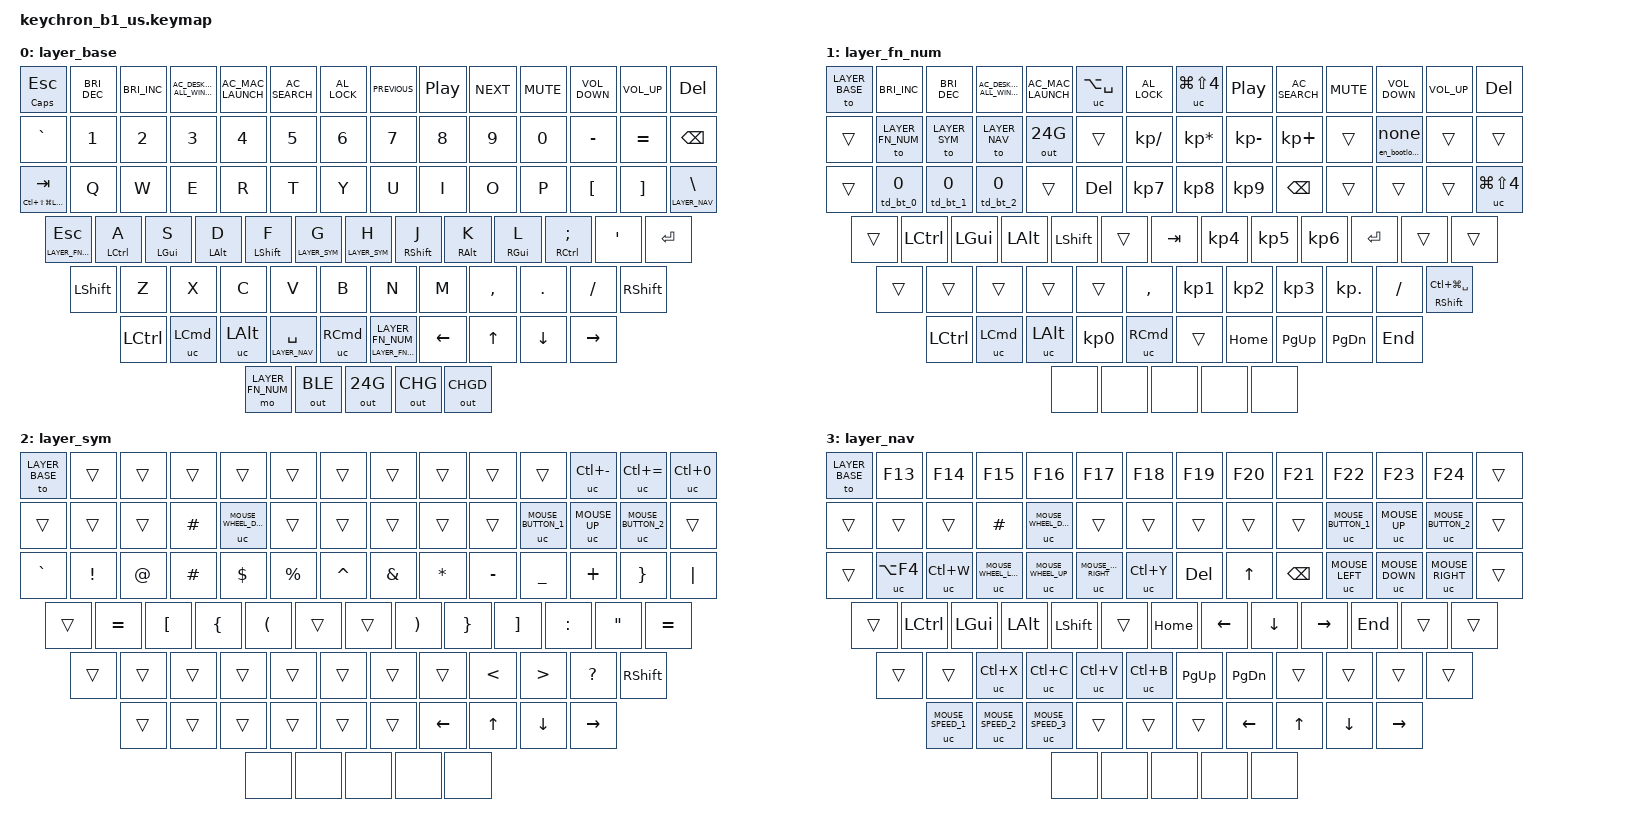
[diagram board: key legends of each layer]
/*
 * Copyright (c) 2023 The ZMK Contributors
 *
 * SPDX-License-Identifier: MIT
 */

#include <behaviors.dtsi>
#include <dt-bindings/zmk/keys.h>
#include <dt-bindings/zmk/bt.h>
#include <dt-bindings/zmk/outputs.h>

/* Canonical zero-based layers from B1PRO/DESIGN/B1Pro-ZMK-KEYMAP.md. */
#define LAYER_BASE   0
#define LAYER_FN_NUM 1
#define LAYER_SYM    2
#define LAYER_NAV    3

/* Keychron launcher mouse codes, consumed by the user_custom behavior. */
#define MOUSE_UP         0x00CD
#define MOUSE_DOWN       0x00CE
#define MOUSE_LEFT       0x00CF
#define MOUSE_RIGHT      0x00D0
#define MOUSE_BUTTON_1   0x00D1
#define MOUSE_BUTTON_2   0x00D2
#define MOUSE_WHEEL_UP   0x00D9
#define MOUSE_WHEEL_DOWN 0x00DA
#define MOUSE_WHEEL_LEFT 0x00DB
#define MOUSE_WHEEL_RIGHT 0x00DC
#define MOUSE_SPEED_1    0x00DD
#define MOUSE_SPEED_2    0x00DE
#define MOUSE_SPEED_3    0x00DF

/ {
    ZMK_MACRO(en_bootloader, bindings = <&bootloader>;)

    /* Minus on Layer 1 preserves the factory three-second Boot action. */
    long_press_bootloader: long_press_bootloader {
        compatible = "zmk,behavior-hold-tap";
        label = "LP_BOOTLOADER";
        #binding-cells = <2>;
        flavor = "tap-preferred";
        tapping-term-ms = <3000>;
        bindings = <&en_bootloader>, <&none>;
    };

    /* Bilateral home-row modifiers: same-hand rolls remain letters. */
    lhm: left_homerow_mods {
        compatible = "zmk,behavior-hold-tap";
        label = "LEFT_HOMEROW_MODS";
        #binding-cells = <2>;
        flavor = "tap-preferred";
        tapping-term-ms = <200>;
        quick-tap-ms = <175>;
        require-prior-idle-ms = <150>;
        hold-trigger-on-release;
        hold-trigger-key-positions = <
            7 8 9 10 11 12
            20 21 22 23 24 25 26
            34 35 36 37 38 39 40
            47 48 49 50 51 52 53
            60 61 62 63 64 65
            70 71 72 73 74 75
        >;
        bindings = <&kp>, <&kp>;
    };

    rhm: right_homerow_mods {
        compatible = "zmk,behavior-hold-tap";
        label = "RIGHT_HOMEROW_MODS";
        #binding-cells = <2>;
        flavor = "tap-preferred";
        tapping-term-ms = <200>;
        quick-tap-ms = <175>;
        require-prior-idle-ms = <150>;
        hold-trigger-on-release;
        hold-trigger-key-positions = <
            0 1 2 3 4 5 6
            13 14 15 16 17 18 19
            27 28 29 30 31 32 33
            41 42 43 44 45 46
            54 55 56 57 58 59
            66 67 68 69
        >;
        bindings = <&kp>, <&kp>;
    };

    /* Layer 0 dual-role controls. Hold behavior is the first binding. */
    esc_caps: escape_caps_lock {
        compatible = "zmk,behavior-hold-tap";
        label = "ESC_CAPS_LOCK";
        #binding-cells = <2>;
        flavor = "tap-preferred";
        tapping-term-ms = <600>;
        bindings = <&kt>, <&kp>;
    };

    fn_layer_access: fn_layer_access {
        compatible = "zmk,behavior-hold-tap";
        label = "FN_LAYER_ACCESS";
        #binding-cells = <2>;
        flavor = "tap-preferred";
        tapping-term-ms = <200>;
        bindings = <&mo>, <&sl>;
    };

    rshift_emoji: rshift_emoji {
        compatible = "zmk,behavior-hold-tap";
        label = "RSHIFT_EMOJI";
        #binding-cells = <2>;
        flavor = "tap-preferred";
        tapping-term-ms = <200>;
        bindings = <&kp>, <&uc>;
    };

    /* Q/W/E: single tap selects a profile; double tap starts pairing. */
    td_bt_0: td_bt_0 {
        compatible = "zmk,behavior-tap-dance";
        label = "TD_BT_0";
        #binding-cells = <1>;
        tapping-term-ms = <350>;
        bindings = <&bt BT_SEL 0>, <&bt BT_PAIR 0>;
    };
    td_bt_1: td_bt_1 {
        compatible = "zmk,behavior-tap-dance";
        label = "TD_BT_1";
        #binding-cells = <1>;
        tapping-term-ms = <350>;
        bindings = <&bt BT_SEL 1>, <&bt BT_PAIR 1>;
    };
    td_bt_2: td_bt_2 {
        compatible = "zmk,behavior-tap-dance";
        label = "TD_BT_2";
        #binding-cells = <1>;
        tapping-term-ms = <350>;
        bindings = <&bt BT_SEL 2>, <&bt BT_PAIR 2>;
    };

    uc: user_custom {
        compatible = "zmk,behavior-key-press";
        label = "USER_CUSTOM";
        #binding-cells = <1>;
    };

    keymap {
        compatible = "zmk,keymap";

        layer_base {
            bindings = <
                &esc_caps CAPS ESC &kp C_BRIGHTNESS_DEC &kp C_BRIGHTNESS_INC &kp C_AC_DESKTOP_SHOW_ALL_WINDOWS &kp C_AC_MAC_LAUNCH &kp C_AC_SEARCH &kp C_AL_LOCK &kp C_PREVIOUS &kp C_PLAY_PAUSE &kp C_NEXT &kp C_MUTE &kp C_VOLUME_DOWN &kp C_VOLUME_UP &kp DEL
                &kp GRAVE &kp N1 &kp N2 &kp N3 &kp N4 &kp N5 &kp N6 &kp N7 &kp N8 &kp N9 &kp N0 &kp MINUS &kp EQUAL &kp BSPC
                &mt LC(LS(LG(LALT))) TAB &kp Q &kp W &kp E &kp R &kp T &kp Y &kp U &kp I &kp O &kp P &kp LBKT &kp RBKT &lt LAYER_NAV BSLH
                &lt LAYER_FN_NUM ESC &lhm LCTRL A &lhm LGUI S &lhm LALT D &lhm LSHFT F &lt LAYER_SYM G &lt LAYER_SYM H &rhm RSHFT J &rhm RALT K &rhm RGUI L &rhm RCTRL SEMI &kp SQT &kp RET
                &kp LSHFT &kp Z &kp X &kp C &kp V &kp B &kp N &kp M &kp COMMA &kp DOT &kp FSLH &kp RSHFT
                &kp LCTRL &uc LCMD &uc LALT &lt LAYER_NAV SPACE &uc RCMD &fn_layer_access LAYER_FN_NUM LAYER_FN_NUM &kp LEFT &kp UP &kp DOWN &kp RIGHT
                &mo LAYER_FN_NUM &out OUT_BLE &out OUT_24G &out OUT_CHG &out OUT_CHGD
            >;
        };

        layer_fn_num {
            bindings = <
                &to LAYER_BASE &kp C_BRIGHTNESS_INC &kp C_BRIGHTNESS_DEC &kp C_AC_DESKTOP_SHOW_ALL_WINDOWS &kp C_AC_MAC_LAUNCH &uc LA(SPACE) &kp C_AL_LOCK &uc LG(LS(N4)) &kp C_PLAY_PAUSE &kp C_AC_SEARCH &kp C_MUTE &kp C_VOLUME_DOWN &kp C_VOLUME_UP &kp DEL
                &trans &to LAYER_FN_NUM &to LAYER_SYM &to LAYER_NAV &out OUT_24G &trans &kp KP_DIVIDE &kp KP_MULTIPLY &kp KP_MINUS &kp KP_PLUS &trans &long_press_bootloader 0 0 &trans &trans
                &trans &td_bt_0 0 &td_bt_1 0 &td_bt_2 0 &trans &kp DEL &kp KP_N7 &kp KP_N8 &kp KP_N9 &kp BSPC &trans &trans &trans &uc LG(LS(N4))
                &trans &kp LCTRL &kp LGUI &kp LALT &kp LSHFT &trans &kp TAB &kp KP_N4 &kp KP_N5 &kp KP_N6 &kp RET &trans &trans
                &trans &trans &trans &trans &trans &kp COMMA &kp KP_N1 &kp KP_N2 &kp KP_N3 &kp KP_DOT &kp FSLH &rshift_emoji RSHFT LC(LG(SPACE))
                &kp LCTRL &uc LCMD &uc LALT &kp KP_N0 &uc RCMD &trans &kp HOME &kp PG_UP &kp PG_DN &kp END
                &none &none &none &none &none
            >;
        };

        layer_sym {
            bindings = <
                &to LAYER_BASE &trans &trans &trans &trans &trans &trans &trans &trans &trans &trans &uc LC(MINUS) &uc LC(EQUAL) &uc LC(N0)
                &trans &trans &trans &kp HASH &uc MOUSE_WHEEL_DOWN &trans &trans &trans &trans &trans &uc MOUSE_BUTTON_1 &uc MOUSE_UP &uc MOUSE_BUTTON_2 &trans
                &kp GRAVE &kp EXCL &kp AT &kp HASH &kp DLLR &kp PRCNT &kp CARET &kp AMPS &kp ASTERISK &kp MINUS &kp UNDER &kp PLUS &kp RBRC &kp PIPE
                &trans &kp EQUAL &kp LBKT &kp LBRC &kp LPAR &trans &trans &kp RPAR &kp RBRC &kp RBKT &kp COLON &kp DQT &kp EQUAL
                &trans &trans &trans &trans &trans &trans &trans &trans &kp LT &kp GT &kp QMARK &kp RSHFT
                &trans &trans &trans &trans &trans &trans &kp LEFT &kp UP &kp DOWN &kp RIGHT
                &none &none &none &none &none
            >;
        };

        layer_nav {
            bindings = <
                &to LAYER_BASE &kp F13 &kp F14 &kp F15 &kp F16 &kp F17 &kp F18 &kp F19 &kp F20 &kp F21 &kp F22 &kp F23 &kp F24 &trans
                &trans &trans &trans &kp HASH &uc MOUSE_WHEEL_DOWN &trans &trans &trans &trans &trans &uc MOUSE_BUTTON_1 &uc MOUSE_UP &uc MOUSE_BUTTON_2 &trans
                &trans &uc LA(F4) &uc LC(W) &uc MOUSE_WHEEL_LEFT &uc MOUSE_WHEEL_UP &uc MOUSE_WHEEL_RIGHT &uc LC(Y) &kp DEL &kp UP &kp BSPC &uc MOUSE_LEFT &uc MOUSE_DOWN &uc MOUSE_RIGHT &trans
                &trans &kp LCTRL &kp LGUI &kp LALT &kp LSHFT &trans &kp HOME &kp LEFT &kp DOWN &kp RIGHT &kp END &trans &trans
                &trans &trans &uc LC(X) &uc LC(C) &uc LC(V) &uc LC(B) &kp PG_UP &kp PG_DN &trans &trans &trans &trans
                &uc MOUSE_SPEED_1 &uc MOUSE_SPEED_2 &uc MOUSE_SPEED_3 &trans &trans &trans &kp LEFT &kp UP &kp DOWN &kp RIGHT
                &none &none &none &none &none
            >;
        };
    };
};
